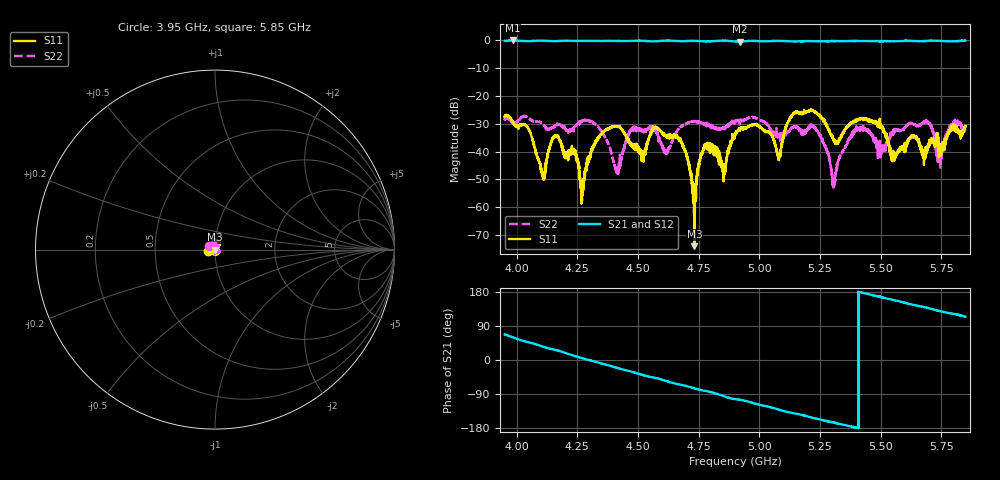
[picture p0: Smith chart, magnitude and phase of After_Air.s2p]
# GHZ S RI R 50.000000000000
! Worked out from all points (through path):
!   4501 points, 3.95 GHz to 5.85 GHz, reference 50 ohm
!   highest |S21| = -0.07 dB at 3.984 GHz (marker M1); lowest = -0.5 dB at 4.919 GHz (marker M2)
!   group delay of S21, straight-line fit = 451 ps
!   lowest |S11| = -74.0 dB at 4.732 GHz (marker M3), VSWR 1.00, Z = 50 + j0.0185 ohm
!   |S11| at or under -10 dB: start of sweep to end of sweep
!   |S22| runs from -53.0 to -27.2 dB; largest |S21 - S12| = 0.048
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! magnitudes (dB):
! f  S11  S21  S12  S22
! 3.95 GHz  -27.6  -0.2  -0.3  -28.6
! 3.984 GHz  -29.5  -0.1  -0.1  -29.8
! 4.109 GHz  -48.6  -0.2  -0.2  -30.4
! 4.167 GHz  -34.4  -0.3  -0.3  -29.9
! 4.267 GHz  -56.8  -0.2  -0.2  -29.5
! 4.414 GHz  -30.9  -0.2  -0.3  -47.2
! 4.477 GHz  -37.3  -0.2  -0.2  -31.4
! 4.584 GHz  -31.9  -0.3  -0.4  -34.9
! 4.68 GHz  -36.6  -0.3  -0.3  -30.8
! 4.732 GHz  -74.0  -0.2  -0.2  -29.0
! 4.775 GHz  -37.3  -0.4  -0.5  -30.2
! 4.854 GHz  -46.9  -0.1  -0.1  -32.0
! 4.9 GHz  -33.7  -0.4  -0.4  -29.2
! 4.919 GHz  -32.4  -0.5  -0.5  -28.6
! 5.08 GHz  -42.1  -0.2  -0.3  -33.7
! 5.217 GHz  -25.3  -0.3  -0.3  -30.9
! 5.307 GHz  -35.7  -0.3  -0.3  -52.2
! 5.399 GHz  -29.2  -0.3  -0.3  -32.2
! 5.534 GHz  -37.6  -0.3  -0.3  -35.4
! 5.692 GHz  -39.8  -0.2  -0.2  -29.3
! 5.742 GHz  -37.3  -0.2  -0.2  -40.8
! 5.85 GHz  -30.8  -0.2  -0.2  -32.1
